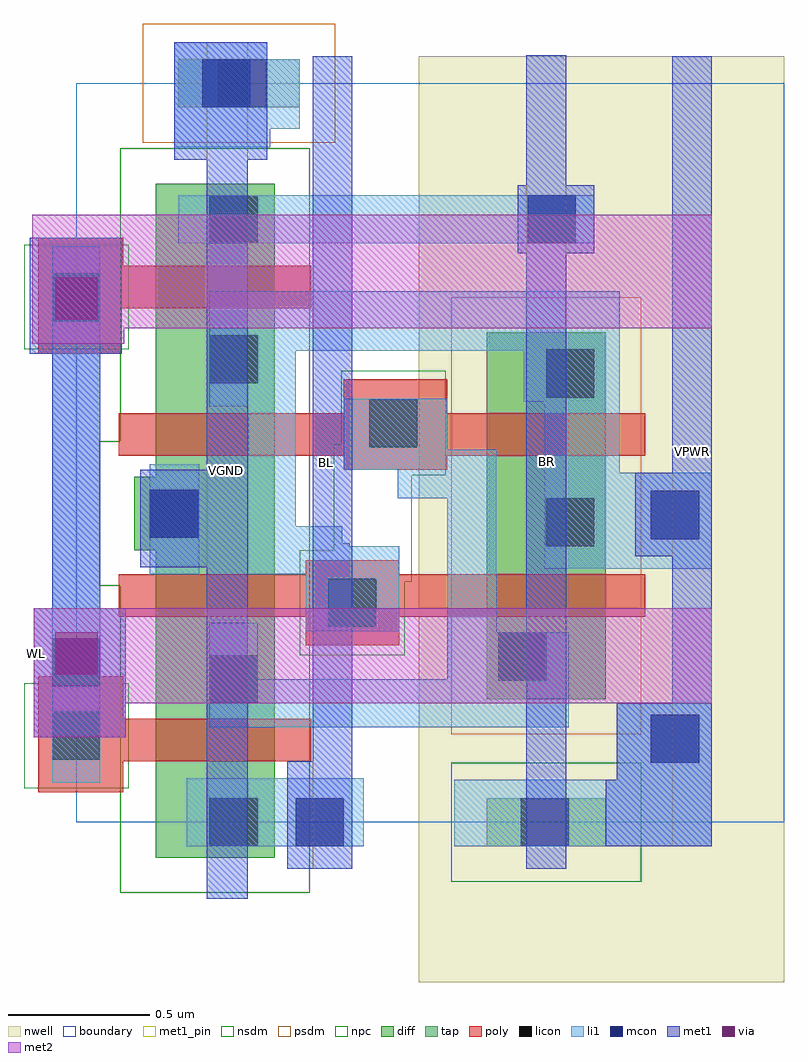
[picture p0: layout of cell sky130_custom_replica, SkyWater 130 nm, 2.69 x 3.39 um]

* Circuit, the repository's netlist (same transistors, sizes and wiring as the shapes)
* SPICE3 file created from sky130_custom_replica.ext - technology: sky130A

.subckt sky130_custom_replica BL BR WL VPWR VGND
X0 BL WL Q VGND sky130_fd_pr__nfet_01v8 ad=0.1428 pd=1.52 as=0.0756 ps=0.78 w=0.42 l=0.15
X1 VGND Q VPWR VGND sky130_fd_pr__nfet_01v8 ad=0.09795 pd=0.915 as=0.0777 ps=0.79 w=0.42 l=0.15
X2 VPWR WL BR VGND sky130_fd_pr__nfet_01v8 ad=0.0777 pd=0.79 as=0.1218 ps=1.42 w=0.42 l=0.15
X3 VPWR Q VPWR VPWR sky130_fd_pr__pfet_01v8 ad=0.0882 pd=0.84 as=0.2961 ps=3.09 w=0.42 l=0.15
X4 Q VPWR VPWR VPWR sky130_fd_pr__pfet_01v8 ad=0.1218 pd=1.42 as=0.0882 ps=0.84 w=0.42 l=0.15
X5 Q VPWR VGND VGND sky130_fd_pr__nfet_01v8 ad=0.0756 pd=0.78 as=0.09795 ps=0.915 w=0.42 l=0.15
.ends

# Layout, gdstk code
import gdstk
lib = gdstk.Library(unit=1e-6, precision=1e-09)
def R(c, l, rs):  # rectangles x0, y0, x1, y1
    for r in rs: c.add(gdstk.rectangle(r[:2], r[2:], *l))
def P(c, l, *ps):  # polygons
    for p in ps: c.add(gdstk.Polygon(p, *l))
nwell = (64, 20)
diff = (65, 20)
tap = (65, 44)
poly = (66, 20)
licon = (66, 44)
li1 = (67, 20)
mcon = (67, 44)
met1_pin = (68, 16)
met1 = (68, 20)
via = (68, 44)
met2 = (69, 20)
nsdm = (93, 44)
psdm = (94, 20)
npc = (95, 20)
boundary = (235, 4)

sky130_custom_replica = lib.new_cell('sky130_custom_replica')
R(sky130_custom_replica, nwell, [(1.21,-0.565,2.5,2.705)])
R(sky130_custom_replica, diff, [(0.28,-0.125,0.7,0.96), (1.45,0.435,1.87,1.73), (0.205,0.96,0.7,1.22), (0.28,1.22,0.7,2.255)])
R(sky130_custom_replica, tap, [(1.45,-0.085,1.87,0.085), (0.36,2.525,0.79,2.695)])
R(sky130_custom_replica, poly, [(-0.135,0.105,0.165,0.215), (-0.135,0.215,0.83,0.365), (-0.135,0.365,0.165,0.515), (0.81,0.625,1.14,0.725), (0.15,0.725,2.01,0.875), (0.81,0.875,1.14,0.925), (0.945,1.245,1.31,1.295), (0.15,1.295,2.01,1.445), (0.945,1.445,1.31,1.565), (-0.135,1.655,0.16,1.815), (-0.135,1.815,0.83,1.965), (-0.135,1.965,0.165,2.065)])
R(sky130_custom_replica, licon, [(0.47,-0.085,0.64,0.085), (1.57,-0.085,1.74,0.085), (-0.085,0.22,0.085,0.39), (0.47,0.42,0.64,0.59), (1.49,0.5,1.66,0.67), (0.89,0.69,1.06,0.86), (1.66,0.975,1.83,1.145), (0.265,1.005,0.435,1.175), (1.035,1.325,1.205,1.495), (1.66,1.5,1.83,1.67), (0.47,1.55,0.64,1.72), (-0.085,1.77,0.085,1.94), (0.47,2.045,0.64,2.215), (0.5,2.525,0.67,2.695)])
R(sky130_custom_replica, li1, [(0.39,-0.085,1.015,0.155), (1.335,-0.085,2.245,0.15), (-0.085,0.14,0.085,2.035), (1.91,0.15,2.245,0.42), (0.47,0.335,1.74,0.505), (0.47,0.505,0.64,0.705), (1.31,0.505,1.74,0.67), (1.31,0.67,1.485,1.145), (0.81,0.675,1.14,0.875), (0.26,0.875,0.435,1.265), (0.605,0.875,1.14,0.975), (0.605,0.975,0.965,0.985), (0.605,0.985,0.94,1.045), (0.605,1.045,0.775,1.47), (1.135,1.145,1.485,1.245), (0.945,1.245,1.485,1.315), (0.945,1.315,1.31,1.495), (0.47,1.47,0.775,1.665), (1.58,1.485,1.92,1.665), (0.47,1.665,1.92,1.875), (0.36,2.045,1.83,2.215), (0.345,2.385,0.685,2.45), (0.345,2.45,0.79,2.695), (0.345,2.695,0.675,2.755)])
P(sky130_custom_replica, li1, [(1.655,0.895),(1.655,1.485),(1.92,1.485),(1.92,1.235),(2.245,1.235),(2.245,0.895)])
R(sky130_custom_replica, mcon, [(0.775,-0.085,0.945,0.085), (2.03,0.21,2.2,0.38), (-0.085,0.48,0.085,0.65), (2.03,1,2.2,1.17), (0.26,1.005,0.43,1.175), (1.595,2.045,1.765,2.215), (0.445,2.525,0.615,2.695)])
R(sky130_custom_replica, met1_pin, [(0.46,-0.27,0.605,2.755), (0.835,-0.165,0.975,2.705), (1.59,-0.165,1.73,2.71), (2.105,-0.085,2.245,2.705)])
R(sky130_custom_replica, met1, [(0.46,-0.27,0.605,0.9), (0.745,-0.165,0.975,0.215), (1.59,-0.165,1.73,2.01), (1.87,-0.085,2.245,0.15), (1.91,0.15,2.245,0.42), (0.835,0.215,0.975,0.22), (0.835,0.22,0.975,2.705), (-0.15,0.3,0.175,0.755), (2.105,0.42,2.245,0.94), (-0.085,0.755,0.085,1.655), (0.225,0.9,0.605,1.245), (1.975,0.94,2.245,1.235), (2.105,1.235,2.245,2.705), (0.46,1.245,0.605,2.34), (-0.165,1.655,0.16,2.065), (1.56,2.01,1.83,2.25), (1.59,2.25,1.73,2.71), (0.345,2.34,0.675,2.755)])
R(sky130_custom_replica, via, [(-0.075,0.52,0.075,0.67), (-0.075,1.775,0.075,1.925)])
R(sky130_custom_replica, met2, [(-0.15,0.3,0.175,0.42), (-0.15,0.42,2.245,0.755), (-0.155,1.69,0.17,1.745), (-0.155,1.745,2.245,2.145)])
R(sky130_custom_replica, nsdm, [(0.155,-0.25,0.825,0.835), (1.325,-0.21,1.995,0.21), (0.08,0.835,0.825,1.345), (0.155,1.345,0.825,2.38)])
R(sky130_custom_replica, psdm, [(1.325,0.31,1.995,1.855), (0.235,2.4,0.915,2.82)])
R(sky130_custom_replica, npc, [(-0.185,0.12,0.185,0.49), (0.79,0.59,1.16,0.85), (0.79,0.85,1.185,0.96), (0.91,0.96,1.185,1.225), (0.91,1.225,1.305,1.335), (0.935,1.335,1.305,1.595), (-0.185,1.67,0.185,2.04)])
R(sky130_custom_replica, boundary, [(0,0,2.5,2.61)])
sky130_custom_replica.add(gdstk.Label('BL', (0.885,1.27), layer=68, texttype=16))
sky130_custom_replica.add(gdstk.Label('BR', (1.66,1.273), layer=68, texttype=16))
sky130_custom_replica.add(gdstk.Label('VGND', (0.532,1.243), layer=68, texttype=16))
sky130_custom_replica.add(gdstk.Label('VPWR', (2.175,1.31), layer=68, texttype=16))
sky130_custom_replica.add(gdstk.Label('WL', (-0.14,0.595), layer=69, texttype=16))

lib.write_gds('sky130_custom_replica.gds')
